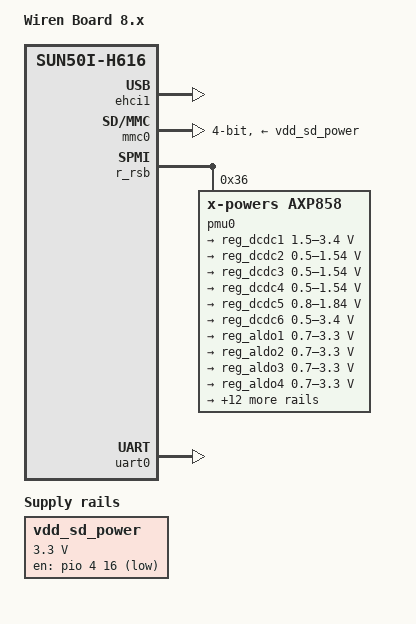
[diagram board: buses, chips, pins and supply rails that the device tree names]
// SPDX-License-Identifier: (GPL-2.0+ or MIT)
/*
 * Copyright (C) 2020 Arm Ltd.
 */

/dts-v1/;

#include "sun50i-h616.dtsi"

#include <dt-bindings/gpio/gpio.h>
#include <dt-bindings/interrupt-controller/arm-gic.h>
#include <dt-bindings/leds/common.h>

/ {
	model = "Wiren Board 8.x";
	compatible = "wirenboard,wirenboard-8xx", "allwinner,sun50i-h616";

	aliases {
		serial0 = &uart0;
	};

	chosen {
		stdout-path = "serial0:115200n8";
	};

    soc {
		nmi_intc: interrupt-controller@07010320 {
			compatible = "allwinner,sun8i-v3s-nmi";
            interrupt-parent = <&gic>;
			interrupt-controller;
			#interrupt-cells = <2>;
			reg = <0x07010320 0x0c>;
			interrupts = <GIC_SPI 103 IRQ_TYPE_LEVEL_HIGH>;
		};
    };

    regulators {
        vdd_sd_power: vdd-sd-power {
            compatible = "regulator-fixed";
            gpio = <&pio 4 16 GPIO_ACTIVE_LOW>;  // PE16
            regulator-name = "vdd-sd-power";
            regulator-min-microvolt = <3300000>;
            regulator-max-microvolt = <3300000>;
            enable-active-low;
        };
    };
};

&ehci1 {
	status = "okay";
};

/* USB 2 & 3 are on headers only. */

&mmc0 {
	vmmc-supply = <&vdd_sd_power>;
    vqmcc-supply = <&reg_dcdc1>;
    broken-cd;
	bus-width = <4>;
	status = "okay";
};

&r_rsb {
	status = "okay";

	pmu0: pmu@36{
		compatible = "x-powers,axp858";
		reg = <0x36>;
		interrupt-parent = <&nmi_intc>;
		interrupts = <0 IRQ_TYPE_LEVEL_LOW>;
		interrupt-controller;
		#interrupt-cells = <1>;

		wakeup-source;
		overtemp_shutdown = <1>;
		overtemp_value = <145>;

		powerkey0: powerkey@0{
			status = "okay";
			compatible = "x-powers,axp2101-pek";
			pmu_powkey_off_time = <6000>;
			pmu_powkey_off_func = <0>;
			pmu_powkey_off_en = <1>;
			pmu_powkey_long_time = <1500>;
			pmu_powkey_on_time = <1000>;
			wakeup_rising;
			wakeup_falling;
		};

		standby_param: standby_param {
			vcc-io = <0x1>;
			vdd-cpua = <0x2>;
			vdd-sys = <0x4>;
			vdd-res1 = <0x40>;
			vcc-pll = <0x80>;
		};

		regulator0: regulators{
			reg_dcdc1: dcdc1 {
				regulator-name = "axp858-dcdc1";
				regulator-min-microvolt = <1500000>;
				regulator-max-microvolt = <3400000>;
				regulator-step-delay-us = <25>;
				regulator-final-delay-us = <50>;
				regulator-always-on;
				under_voltage_shutdown = <1>;
			};

			reg_dcdc2: dcdc2 {
				regulator-name = "axp858-dcdc2";
				regulator-min-microvolt = <500000>;
				regulator-max-microvolt = <1540000>;
				regulator-step-delay-us = <25>;
				regulator-final-delay-us = <50>;
				regulator-ramp-delay = <6001>; /* FIXME */
				regulator-always-on;
				under_voltage_shutdown = <1>;
			};

			reg_dcdc3: dcdc3 {
				regulator-name = "axp858-dcdc3";
				regulator-min-microvolt = <500000>;
				regulator-max-microvolt = <1540000>;
				regulator-step-delay-us = <25>;
				regulator-final-delay-us = <50>;
				regulator-always-on;
				under_voltage_shutdown = <1>;
			};

			reg_dcdc4: dcdc4 {
				regulator-name = "axp858-dcdc4";
				regulator-min-microvolt = <500000>;
				regulator-max-microvolt = <1540000>;
				regulator-step-delay-us = <25>;
				regulator-final-delay-us = <50>;
				regulator-enable-ramp-delay = <1000>;
				under_voltage_shutdown = <1>;
			};

			reg_dcdc5: dcdc5 {
				regulator-name = "axp858-dcdc5";
				regulator-min-microvolt = <800000>;
				regulator-max-microvolt = <1840000>;
				regulator-step-delay-us = <25>;
				regulator-final-delay-us = <50>;
				regulator-always-on;
				under_voltage_shutdown = <1>;
			};

			reg_dcdc6: dcdc6 {
				regulator-name = "axp858-dcdc6";
				regulator-min-microvolt = <500000>;
				regulator-max-microvolt = <3400000>;
				regulator-step-delay-us = <25>;
				regulator-final-delay-us = <50>;
				under_voltage_shutdown = <1>;
			};

			reg_aldo1: aldo1 {
				regulator-name = "axp858-aldo1";
				regulator-min-microvolt = <700000>;
				regulator-max-microvolt = <3300000>;
				regulator-step-delay-us = <25>;
				regulator-final-delay-us = <50>;
				regulator-always-on;
			};

			reg_aldo2: aldo2 {
				regulator-name = "axp858-aldo2";
				regulator-min-microvolt = <700000>;
				regulator-max-microvolt = <3300000>;
				regulator-step-delay-us = <25>;
				regulator-final-delay-us = <50>;
				regulator-always-on;
			};

			reg_aldo3: aldo3 {
				regulator-name = "axp858-aldo3";
				regulator-min-microvolt = <700000>;
				regulator-max-microvolt = <3300000>;
				regulator-step-delay-us = <25>;
				regulator-final-delay-us = <50>;
			};

			reg_aldo4: aldo4 {
				regulator-name = "axp858-aldo4";
				regulator-min-microvolt = <700000>;
				regulator-max-microvolt = <3300000>;
				regulator-step-delay-us = <25>;
				regulator-final-delay-us = <50>;
				regulator-always-on;
			};

			reg_aldo5: aldo5 {
				regulator-name = "axp858-aldo5";
				regulator-min-microvolt = <700000>;
				regulator-max-microvolt = <3300000>;
				regulator-step-delay-us = <25>;
				regulator-final-delay-us = <50>;
			};

			reg_bldo1: bldo1 {
				regulator-name = "axp858-bldo1";
				regulator-min-microvolt = <700000>;
				regulator-max-microvolt = <3300000>;
				regulator-step-delay-us = <25>;
				regulator-final-delay-us = <50>;
			};

			reg_bldo2: bldo2 {
				regulator-name = "axp858-bldo2";
				regulator-min-microvolt = <700000>;
				regulator-max-microvolt = <3300000>;
				regulator-step-delay-us = <25>;
				regulator-final-delay-us = <50>;
			};

			reg_bldo3: bldo3 {
				regulator-name = "axp858-bldo3";
				regulator-min-microvolt = <700000>;
				regulator-max-microvolt = <3300000>;
				regulator-step-delay-us = <25>;
				regulator-final-delay-us = <50>;
			};

			reg_bldo4: bldo4 {
				regulator-name = "axp858-bldo4";
				regulator-min-microvolt = <700000>;
				regulator-max-microvolt = <1800000>;
				regulator-step-delay-us = <25>;
				regulator-final-delay-us = <50>;
				regulator-always-on;
			};

			reg_bldo5: bldo5 {
				regulator-name = "axp858-bldo5";
				regulator-min-microvolt = <700000>;
				regulator-max-microvolt = <3300000>;
				regulator-step-delay-us = <25>;
				regulator-final-delay-us = <50>;
			};

			reg_cldo1: cldo1 {
				regulator-name = "axp858-cldo1";
				regulator-min-microvolt = <700000>;
				regulator-max-microvolt = <3300000>;
				regulator-step-delay-us = <25>;
				regulator-final-delay-us = <50>;
				regulator-always-on;
			};

			reg_cldo2: cldo2 {
				regulator-name = "axp858-cldo2";
				regulator-min-microvolt = <700000>;
				regulator-max-microvolt = <1800000>;
				regulator-step-delay-us = <25>;
				regulator-final-delay-us = <50>;
				regulator-always-on;
			};

			reg_cldo3: cldo3 {
				regulator-name = "axp858-cldo3";
				regulator-min-microvolt = <700000>;
				regulator-max-microvolt = <3300000>;
				regulator-step-delay-us = <25>;
				regulator-final-delay-us = <50>;
			};

			reg_cldo4: cldo4 {
				regulator-name = "axp858-cldo4";
				regulator-min-microvolt = <700000>;
				regulator-max-microvolt = <4200000>;
				regulator-step-delay-us = <25>;
				regulator-final-delay-us = <50>;
			};

			reg_cpusldo: cpusldo {
				regulator-name = "axp858-cpusldo";
				regulator-min-microvolt = <700000>;
				regulator-max-microvolt = <1400000>;
				regulator-step-delay-us = <25>;
				regulator-final-delay-us = <50>;
			};

			reg_sw: sw {
				regulator-name = "axp858-sw";
                regulator-always-on;
			};
		};
	};
};

&pio {
    vcc-pa-supply = <&reg_dcdc1>; // +
	vcc-pc-supply = <&reg_aldo1>; // +
    vcc-pd-supply = <&reg_dcdc1>, <&reg_bldo1>; // +
    vcc-pe-supply = <&reg_dcdc1>; // +
	vcc-pf-supply = <&reg_dcdc1>; // dunno, no connector on schematic
	vcc-pg-supply = <&reg_dcdc1>; // +
	vcc-ph-supply = <&reg_dcdc1>; // dunno, no connector on schematic
	vcc-pi-supply = <&reg_dcdc1>; // +
};

&uart0 {
	pinctrl-names = "default";
	pinctrl-0 = <&uart0_ph_pins>;
	status = "okay";
};
